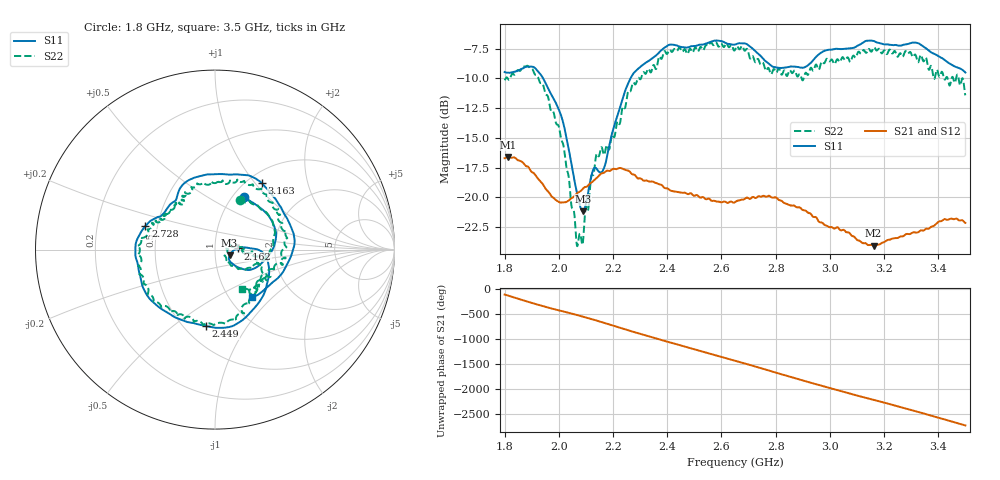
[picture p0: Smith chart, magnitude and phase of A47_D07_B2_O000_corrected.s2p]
! Created with skrf 1.9.0 (http://scikit-rf.org).
# Hz S RI R 50.0
!freq ReS11 ImS11 ReS21 ImS21 ReS12 ImS12 ReS22 ImS22
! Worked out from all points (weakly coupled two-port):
!   1601 points, 1.8 GHz to 3.5 GHz, reference 50 ohm
!   highest |S21| = -16.62 dB at 1.812 GHz (marker M1); lowest = -24.1 dB at 3.161 GHz (marker M2)
!   lowest |S11| = -21.2 dB at 2.089 GHz (marker M3), VSWR 1.19, Z = 58.7 - j3.85 ohm
!   |S11| at or under -10 dB: 1.942 GHz to 2.265 GHz (322.4 MHz wide, 15.3 % of centre)
!   |S22| runs from -24.1 to -7.0 dB; largest |S21 - S12| = 0.0026
!   S11 on the Smith chart (normalised r, x): 1.8 GHz: 1.12, +0.75; 2.162 GHz: 1.30, +0.02; 2.449 GHz: 0.64, -0.66; 2.728 GHz: 0.43, +0.14; 3.163 GHz: 1.16, +1.08; 3.5 GHz: 1.27, -0.75
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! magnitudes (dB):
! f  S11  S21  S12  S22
! 1.8 GHz  -9.5  -16.7  -16.7  -10.2
! 1.812 GHz  -9.5  -16.6  -16.6  -10.0
! 1.883 GHz  -9.0  -17.4  -17.4  -8.9
! 1.941 GHz  -10.0  -18.9  -18.9  -10.5
! 2.011 GHz  -13.3  -20.4  -20.4  -15.3
! 2.066 GHz  -19.5  -19.7  -19.7  -23.9
! 2.084 GHz  -21.1  -19.4  -19.4  -23.7
! 2.089 GHz  -21.2  -19.3  -19.3  -23.8
! 2.135 GHz  -17.5  -18.5  -18.5  -16.9
! 2.162 GHz  -17.8  -18.0  -17.9  -16.1
! 2.26 GHz  -10.2  -17.8  -17.8  -11.1
! 2.367 GHz  -7.9  -18.9  -18.8  -8.4
! 2.449 GHz  -7.4  -19.6  -19.6  -7.5
! 2.65 GHz  -7.2  -20.4  -20.4  -7.6
! 2.728 GHz  -7.8  -20.1  -20.1  -8.6
! 2.8 GHz  -9.1  -20.0  -20.0  -9.5
! 2.934 GHz  -8.6  -21.5  -21.5  -9.2
! 3.161 GHz  -6.9  -24.1  -24.0  -7.4
! 3.163 GHz  -6.9  -24.1  -24.0  -7.4
! 3.217 GHz  -7.2  -23.6  -23.5  -7.7
! 3.325 GHz  -7.0  -22.9  -22.9  -8.6
! 3.5 GHz  -9.5  -22.1  -22.1  -11.4
